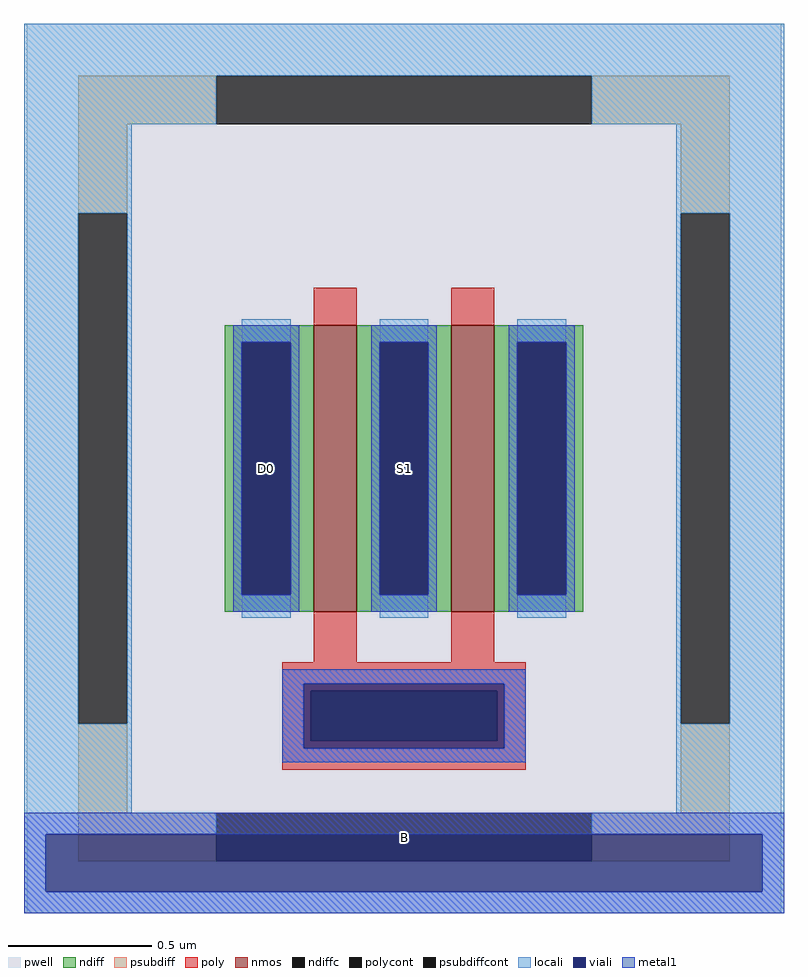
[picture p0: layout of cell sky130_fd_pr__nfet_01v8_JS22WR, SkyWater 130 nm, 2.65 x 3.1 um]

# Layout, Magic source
magic
tech sky130A
magscale 1 2
<< pwell >>
rect -263 -310 263 310
<< nmos >>
rect -63 -100 -33 100
rect 33 -100 63 100
<< ndiff >>
rect -125 88 -63 100
rect -125 -88 -113 88
rect -79 -88 -63 88
rect -125 -100 -63 -88
rect -33 88 33 100
rect -33 -88 -17 88
rect 17 -88 33 88
rect -33 -100 33 -88
rect 63 88 125 100
rect 63 -88 79 88
rect 113 -88 125 88
rect 63 -100 125 -88
<< ndiffc >>
rect -113 -88 -79 88
rect -17 -88 17 88
rect 79 -88 113 88
<< psubdiff >>
rect -227 240 -131 274
rect 131 240 227 274
rect -227 178 -193 240
rect 193 178 227 240
rect -227 -240 -193 -178
rect 193 -240 227 -178
rect -227 -274 -131 -240
rect 131 -274 227 -240
<< psubdiffcont >>
rect -131 240 131 274
rect -227 -178 -193 178
rect 193 -178 227 178
rect -131 -274 131 -240
<< poly >>
rect -63 100 -33 126
rect 33 100 63 126
rect -63 -135 -33 -100
rect 33 -135 63 -100
rect -85 -155 85 -135
rect -85 -190 -65 -155
rect 65 -190 85 -155
rect -85 -210 85 -190
<< polycont >>
rect -65 -190 65 -155
<< locali >>
rect -265 274 265 310
rect -265 240 -131 274
rect 131 240 265 274
rect -265 178 -190 240
rect -265 -178 -227 178
rect -193 -178 -190 178
rect 190 178 265 240
rect -113 88 -79 104
rect -113 -104 -79 -88
rect -17 88 17 104
rect -17 -104 17 -88
rect 79 88 113 104
rect 79 -104 113 -88
rect -265 -240 -190 -178
rect -85 -150 85 -140
rect -85 -195 -70 -150
rect 70 -195 85 -150
rect -85 -205 85 -195
rect 190 -178 193 178
rect 227 -178 265 178
rect 190 -240 265 -178
rect -265 -255 -131 -240
rect 131 -255 265 -240
rect -265 -295 -250 -255
rect 250 -295 265 -255
rect -265 -310 265 -295
<< viali >>
rect -113 -88 -79 88
rect -17 -88 17 88
rect 79 -88 113 88
rect -70 -155 70 -150
rect -70 -190 -65 -155
rect -65 -190 65 -155
rect 65 -190 70 -155
rect -70 -195 70 -190
rect -250 -274 -131 -255
rect -131 -274 131 -255
rect 131 -274 250 -255
rect -250 -295 250 -274
<< metal1 >>
rect -119 88 -73 100
rect -119 -88 -113 88
rect -79 -88 -73 88
rect -119 -100 -73 -88
rect -23 88 23 100
rect -23 -88 -17 88
rect 17 -88 23 88
rect -23 -100 23 -88
rect 73 88 119 100
rect 73 -88 79 88
rect 113 -88 119 88
rect 73 -100 119 -88
rect -85 -150 85 -140
rect -85 -195 -70 -150
rect 70 -195 85 -150
rect -85 -205 85 -195
rect -265 -255 265 -240
rect -265 -295 -250 -255
rect 250 -295 265 -255
rect -265 -310 265 -295
<< labels >>
rlabel psubdiffcont 0 -257 0 -257 0 B
port 1 nsew
rlabel ndiffc -96 0 -96 0 0 D0
port 2 nsew
rlabel ndiffc 0 0 0 0 0 S1
port 4 nsew
<< properties >>
string FIXED_BBOX -210 -257 210 257
string gencell sky130_fd_pr__nfet_01v8
string library sky130
string parameters w 1.0 l 0.15 m 1 nf 2 diffcov 100 polycov 100 guard 1 glc 1 grc 1 gtc 1 gbc 1 tbcov 100 rlcov 100 topc 1 botc 1 poverlap 0 doverlap 1 lmin 0.15 wmin 0.42 class mosfet compatible {sky130_fd_pr__nfet_01v8 sky130_fd_pr__nfet_01v8_lvt  sky130_fd_bs_flash__special_sonosfet_star  sky130_fd_pr__nfet_g5v0d10v5 sky130_fd_pr__nfet_05v0_nvt  sky130_fd_pr__nfet_03v3_nvt} full_metal 1 conn_gates 0 viasrc 100 viadrn 100 viagate 100 viagb 0 viagr 0 viagl 0 viagt 0 doports 1
<< end >>
